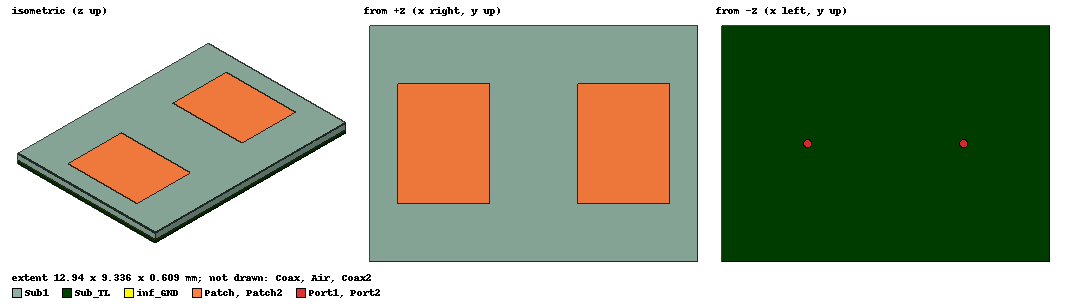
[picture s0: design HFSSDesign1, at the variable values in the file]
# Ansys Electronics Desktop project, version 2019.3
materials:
  vacuum: permittivity=1
  Rogers RT/duroid 5880 (tm): permittivity=2.2 dielectric_loss_tangent=0.0009
  pec: conductivity=1e+30
  Rogers RO4003 (tm): permittivity=3.55 dielectric_loss_tangent=0.0027

design HFSSDesign1 (HFSS, DrivenTerminal, model units mm)
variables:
  Lp = 3.63mm  # optimise 2.8mm..4.2mm
  Wp = 4.7mm  # optimise 4mm..5mm
  hs = 0.406mm
  Ws = 6*hs+Wp*2 -2.5mm
  Ls = 14*hs+Lp*2
  xsub = -Ls/2
  ysub = -Ws/2
  xfeed = 1.33mm
  dp = 3.5mm
  rcoax = 0.16mm  # optimise 0.09mm..0.24mm
  hcoax = 0.203mm
  rprope = 0.07mm
  Lair = 0.01+Ls
  Wair = 0.01+Ws
  xair = Lair/2
  yair = Wair/2
  hair = 5mm
  yfeed = 0mm
  xp = dp/2
  yp = -Wp/2
  Wp2 = 12*hs+Wp*2
  hgnd = -0.032mm
  X_TL_1 = 2.288307mm
  Y_TL_1 = 0.276146mm
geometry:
  Sub1 [Rogers RO4003 (tm)] = box(corner=(xsub, ysub, 0mm), size=(Ls, Ws, hs))
  Patch [Rogers RT/duroid 5880 (tm)] = rectangle(corner=(xp, yp, hs), x_size=Lp, y_size=Wp)
  Coax [vacuum] = cylinder(axis=Z, base_centre=(xp+xfeed, yfeed, 0mm), radius=rcoax, height=-hcoax)
  Coax_Pin [pec] = cylinder(axis=Z, base_centre=(xp+xfeed, yfeed, 0mm), radius=rprope, height=-hcoax)
  Port1 [pec] = circle(normal=Z, centre=(xp+xfeed, yfeed, -hcoax), radius=rcoax)
  Prope [pec] = cylinder(axis=Z, base_centre=(xp+xfeed, yfeed, 0mm), radius=rprope, height=hs)
  Air [vacuum] = box(corner=(-xair, -yair, 0), size=(Lair, Wair, hair))
  Patch2 = rectangle(corner=(xp-Lp-dp, yp, hs), x_size=Lp, y_size=Wp)
  Coax2 [vacuum] = cylinder(axis=Z, base_centre=(-(xp+xfeed), yfeed, 0mm), radius=rcoax, height=-hcoax)
  Coax_Pin2 [pec] = cylinder(axis=Z, base_centre=(-(xp+xfeed), yfeed, 0mm), radius=rprope, height=-hcoax)
  Port2 [pec] = circle(normal=Z, centre=(-(xp+xfeed), yfeed, -hcoax), radius=rcoax)
  Prope2 [pec] = cylinder(axis=Z, base_centre=(-(xp+xfeed), yfeed, 0mm), radius=rprope, height=hs)
  inf_GND [pec] = box(corner=(xsub, ysub, 0mm), size=(Ls, Ws, hgnd))
  Cylinder_cut_2 = cylinder(axis=Z, base_centre=(-(xp+xfeed), yfeed, 0), radius=rcoax, height=hgnd)
  Cylinder_cut_1 = cylinder(axis=Z, base_centre=(xp+xfeed, yfeed, 0), radius=rcoax, height=hgnd)
  inf_GND.subtract(Cylinder_cut_1)
  inf_GND.subtract(Cylinder_cut_2)
  Sub_TL [Rogers RO4003 (tm)] = box(corner=(xsub, ysub, 0mm), size=(Ls, Ws, -0.203mm))
  group Input_feed1 = Coax, Coax_Pin, Port1, Prope
  group Input_feed2 = Coax2, Coax_Pin2, Port2, Prope2
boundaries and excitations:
  PerfE_Patch: Perfect E Objects=Patch
  Rad1: Radiation Faces=Air.face(+x, +y, -y, -x, +z)
  PerfE1: Perfect E Objects=Patch2
  Coax_Pin_T1: Terminal port=1 Faces=Coax_Pin.face(2 of 3) TerminalResistance=50ohm
  Coax_Pin2_T1: Terminal port=2 Faces=Coax_Pin2.face(2 of 3) TerminalResistance=50ohm
  1: Wave Port Faces=Port1.face NumModes=1
  2: Wave Port Faces=Port2.face NumModes=1
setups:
  Setup1: HfssDriven Frequency=20GHz MaxDeltaS=0.02 MaximumPasses=18 MinimumPasses=1 MinimumConvergedPasses=1 PercentRefinement=30 BasisOrder=1 PortAccuracy=2
    sweep Sweep: 17GHz to 23GHz step 0.1GHz; Type=Fast SaveFields SaveRadFields GenerateFieldsForAllFreqs
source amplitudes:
  1:1: 1V 0deg
  2:1: 0V 0deg
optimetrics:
  OptimizationSetup1: Optimization Optimizer="Quasi Newton" AnalysisStopOptions{StopForNumIteration MaxNumIteration=1000 MinNumIteration=10} CostFuncNormType=L2 Acceptable_Cost=0 Noise=0.0001 UpdateDesignWhenDone
    vary Lp: Min=2.8mm Max=4.2mm MinStep=0.0363mm MaxStep=0.363mm MinFocus=2.8mm MaxFocus=4.2mm start=3.63mm
    vary Wp: Min=4mm Max=5mm MinStep=0.047mm MaxStep=0.47mm MinFocus=4mm MaxFocus=5mm start=4.7mm
    vary rcoax: Min=0.09mm Max=0.24mm MinStep=0.0016mm MaxStep=0.016mm MinFocus=0.09mm MaxFocus=0.24mm start=0.16mm
    goal dB(St(Coax_Pin_T1,Coax_Pin_T1)) <= -15 weight 1 on Setup1 : Sweep at Freq 20GHz
    goal mag(Zt(Coax_Pin_T1,Coax_Pin_T1)) == 44.61 weight 1 on Setup1 : Sweep at Freq 20GHz
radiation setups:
  e_plane: Infinite Sphere Theta=-180deg..180deg step 2deg Phi=0deg..0deg step 1deg
  h_plane: Infinite Sphere Theta=-180deg..180deg step 2deg Phi=90deg..90deg step 1deg
  3d: Infinite Sphere Theta=-180deg..180deg step 2deg Phi=0deg..360deg step 2deg
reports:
  Zin: mag(Zt(Coax_Pin_T1,Coax_Pin_T1)) vs Freq on Setup1 : Sweep; markers MX1 at x=2e+10
  Eradation_pattern: abs(rETotal) vs Theta on Setup1 : LastAdaptive, e_plane [Phi=all Freq=20GHz]
  Hradation_pattern: abs(rETotal) vs Theta on Setup1 : LastAdaptive, h_plane [Phi=all Freq=20GHz]
  Co_X_graph: dB10normalize(GainPhi), dB10normalize(GainTheta) vs Theta on Setup1 : LastAdaptive, e_plane [Phi=0deg Freq=20GHz]
  Gain Plot 4: mag(GainTotal) vs Phi, Theta on Setup1 : LastAdaptive, 3d [Freq=20GHz]
  Terminal S Parameter Plot 1: dB(St(Coax_Pin_T1,Coax_Pin_T1)) vs Freq on Setup1 : Sweep
  Terminal S Parameter Plot 2: dB(St(Coax_Pin_T1,Coax_Pin_T1)) vs Freq on Setup1 : Sweep
